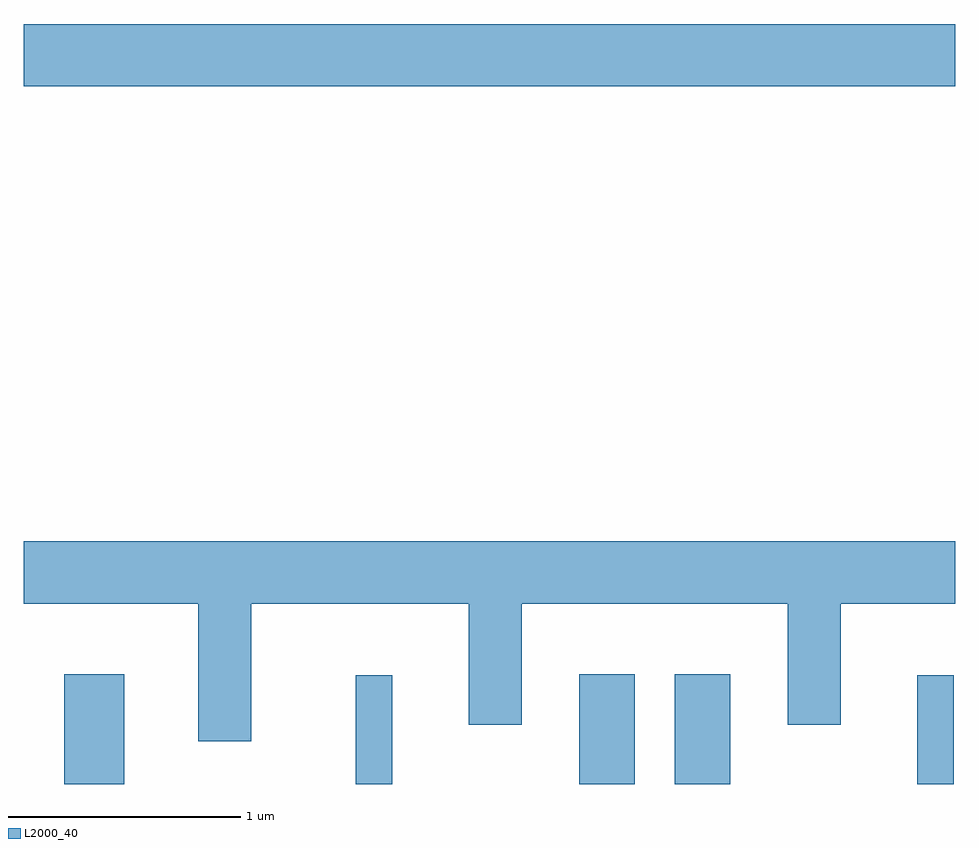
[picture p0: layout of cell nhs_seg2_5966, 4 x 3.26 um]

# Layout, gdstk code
import gdstk
lib = gdstk.Library(unit=1e-6, precision=1e-09)
def R(c, l, rs):  # rectangles x0, y0, x1, y1
    for r in rs: c.add(gdstk.rectangle(r[:2], r[2:], *l))
def P(c, l, *ps):  # polygons
    for p in ps: c.add(gdstk.Polygon(p, *l))
L2000_40 = (2000, 40)

nhs_seg2_5966 = lib.new_cell('nhs_seg2_5966')
R(nhs_seg2_5966, L2000_40, [(361.786,1009.802,362.044,1010.274), (363.036,1009.802,363.194,1010.268), (363.996,1009.802,364.234,1010.274), (364.406,1009.802,364.644,1010.274), (365.446,1009.802,365.604,1010.268), (361.611,1012.796,365.611,1013.064)])
P(nhs_seg2_5966, L2000_40, [(362.589,1010.576),(363.521,1010.576),(363.521,1010.056),(363.749,1010.056),(363.749,1010.576),(364.891,1010.576),(364.891,1010.056),(365.119,1010.056),(365.119,1010.576),(365.611,1010.576),(365.611,1010.844),(361.611,1010.844),(361.611,1010.576),(362.361,1010.576),(362.361,1009.986),(362.589,1009.986)])

lib.write_gds('nhs_seg2_5966.gds')
